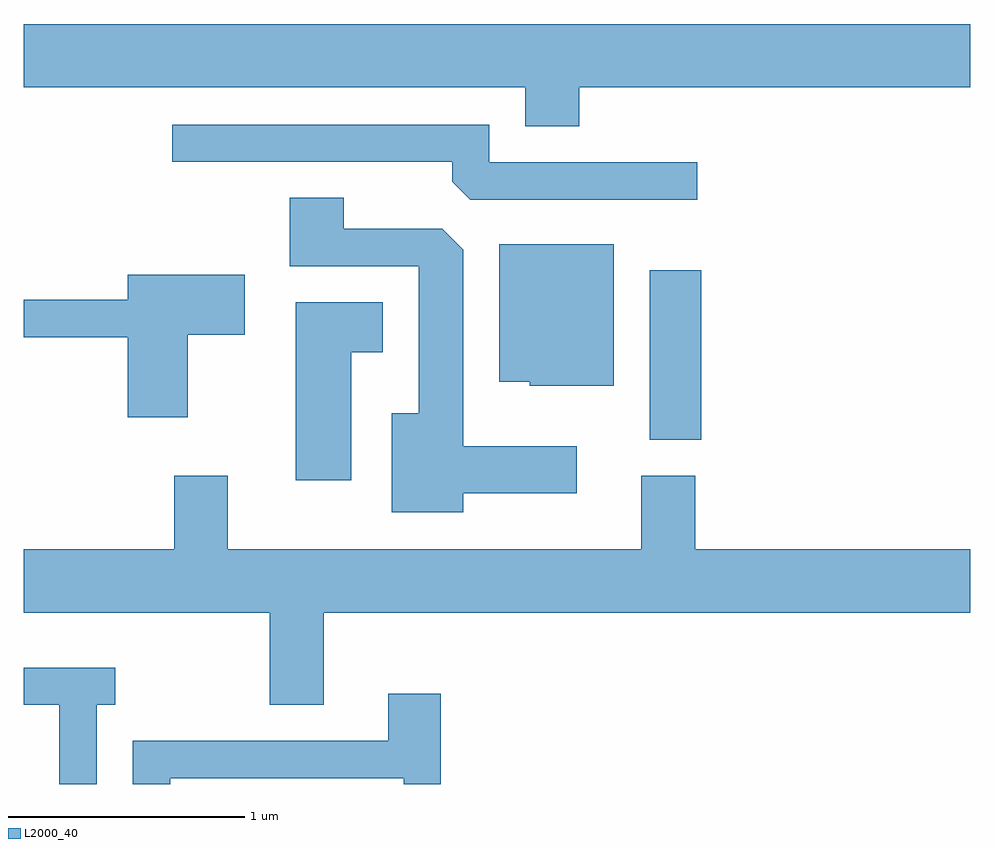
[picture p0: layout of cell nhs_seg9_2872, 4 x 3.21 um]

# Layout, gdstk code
import gdstk
lib = gdstk.Library(unit=1e-6, precision=1e-09)
def R(c, l, rs):  # rectangles x0, y0, x1, y1
    for r in rs: c.add(gdstk.rectangle(r[:2], r[2:], *l))
def P(c, l, *ps):  # polygons
    for p in ps: c.add(gdstk.Polygon(p, *l))
L2000_40 = (2000, 40)

nhs_seg9_2872 = lib.new_cell('nhs_seg9_2872')
R(nhs_seg9_2872, L2000_40, [(272.256,1985.886,272.474,1986.604)])
P(nhs_seg9_2872, L2000_40, [(271.959,1987.376),(273.611,1987.376),(273.611,1987.644),(269.611,1987.644),(269.611,1987.376),(271.731,1987.376),(271.731,1987.211),(271.959,1987.211)],
  [(272.458,1987.059),(271.579,1987.059),(271.579,1987.219),(270.238,1987.219),(270.238,1987.061),(271.421,1987.061),(271.421,1986.977),(271.497,1986.901),(272.458,1986.901)],
  [(271.469,1985.661),(271.949,1985.661),(271.949,1985.859),(271.469,1985.859),(271.469,1986.689),(271.379,1986.779),(270.964,1986.779),(270.964,1986.909),(270.736,1986.909),(270.736,1986.621),(271.281,1986.621),(271.281,1985.999),(271.166,1985.999),(271.166,1985.581),(271.469,1985.581)],
  [(272.104,1986.714),(271.621,1986.714),(271.621,1986.131),(271.75,1986.131),(271.75,1986.116),(272.104,1986.116)],
  [(270.304,1986.331),(270.544,1986.331),(270.544,1986.584),(270.051,1986.584),(270.051,1986.479),(269.611,1986.479),(269.611,1986.321),(270.051,1986.321),(270.051,1985.981),(270.304,1985.981)],
  [(270.994,1986.256),(271.129,1986.256),(271.129,1986.469),(270.761,1986.469),(270.761,1985.716),(270.994,1985.716)],
  [(270.879,1985.156),(273.611,1985.156),(273.611,1985.424),(272.449,1985.424),(272.449,1985.734),(272.221,1985.734),(272.221,1985.424),(270.474,1985.424),(270.474,1985.734),(270.246,1985.734),(270.246,1985.424),(269.611,1985.424),(269.611,1985.156),(270.651,1985.156),(270.651,1984.766),(270.879,1984.766)],
  [(269.919,1984.766),(269.998,1984.766),(269.998,1984.924),(269.611,1984.924),(269.611,1984.766),(269.761,1984.766),(269.761,1984.432),(269.919,1984.432)],
  [(270.229,1984.456),(271.216,1984.456),(271.216,1984.432),(271.374,1984.432),(271.374,1984.814),(271.151,1984.814),(271.151,1984.614),(270.071,1984.614),(270.071,1984.432),(270.229,1984.432)])

lib.write_gds('nhs_seg9_2872.gds')
